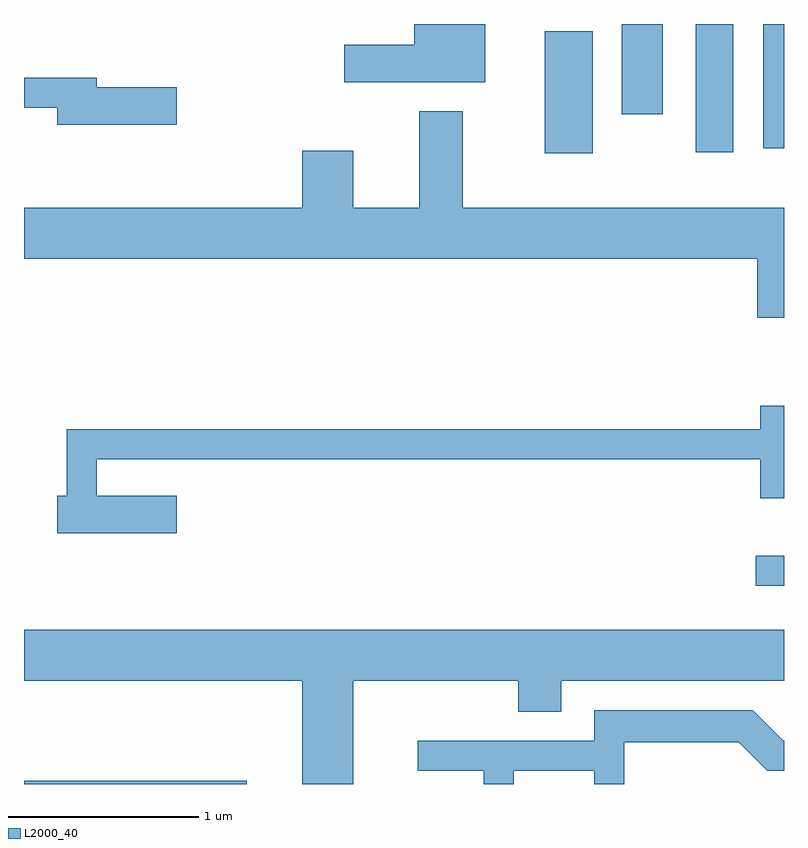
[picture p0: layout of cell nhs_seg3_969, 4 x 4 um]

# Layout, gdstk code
import gdstk
lib = gdstk.Library(unit=1e-6, precision=1e-09)
def R(c, l, rs):  # rectangles x0, y0, x1, y1
    for r in rs: c.add(gdstk.rectangle(r[:2], r[2:], *l))
def P(c, l, *ps):  # polygons
    for p in ps: c.add(gdstk.Polygon(p, *l))
L2000_40 = (2000, 40)

nhs_seg3_969 = lib.new_cell('nhs_seg3_969')
R(nhs_seg3_969, L2000_40, [(213.611,1149.892,214.784,1149.909), (217.463,1150.936,217.611,1151.094), (216.351,1153.211,216.604,1153.854), (217.146,1153.216,217.344,1153.892), (217.501,1153.238,217.611,1153.892), (216.756,1153.416,216.974,1153.892)])
P(nhs_seg3_969, L2000_40, [(216.039,1153.892),(215.666,1153.892),(215.666,1153.784),(215.296,1153.784),(215.296,1153.586),(216.039,1153.586)],
  [(214.414,1153.559),(213.994,1153.559),(213.994,1153.609),(213.611,1153.609),(213.611,1153.451),(213.786,1153.451),(213.786,1153.361),(214.414,1153.361)],
  [(215.076,1153.224),(215.076,1152.924),(213.611,1152.924),(213.611,1152.656),(217.471,1152.656),(217.471,1152.346),(217.611,1152.346),(217.611,1152.924),(215.919,1152.924),(215.919,1153.434),(215.691,1153.434),(215.691,1152.924),(215.344,1152.924),(215.344,1153.224)],
  [(214.414,1151.409),(213.994,1151.409),(213.994,1151.601),(217.486,1151.601),(217.486,1151.396),(217.611,1151.396),(217.611,1151.884),(217.486,1151.884),(217.486,1151.759),(213.836,1151.759),(213.836,1151.409),(213.786,1151.409),(213.786,1151.211),(214.414,1151.211)],
  [(215.344,1150.436),(216.211,1150.436),(216.211,1150.271),(216.439,1150.271),(216.439,1150.436),(217.611,1150.436),(217.611,1150.704),(213.611,1150.704),(213.611,1150.436),(215.076,1150.436),(215.076,1149.892),(215.344,1149.892)],
  [(216.189,1149.961),(216.611,1149.961),(216.611,1149.892),(216.769,1149.892),(216.769,1150.111),(217.374,1150.111),(217.524,1149.961),(217.611,1149.961),(217.611,1150.119),(217.607,1150.119),(217.447,1150.279),(216.611,1150.279),(216.611,1150.119),(215.683,1150.119),(215.683,1149.961),(216.031,1149.961),(216.031,1149.892),(216.189,1149.892)])

lib.write_gds('nhs_seg3_969.gds')
